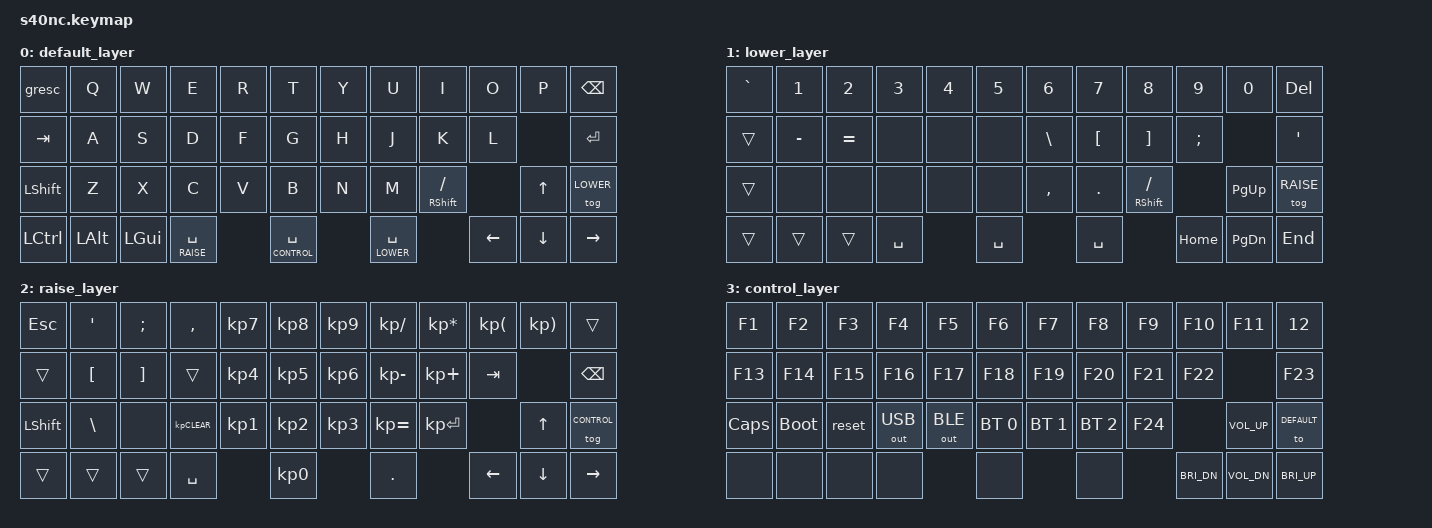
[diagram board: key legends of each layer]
/*
 * Copyright (c) 2021 Nick Winans
 *
 * SPDX-License-Identifier: MIT
 */

#include <behaviors.dtsi>
#include <dt-bindings/zmk/keys.h>
#include <dt-bindings/zmk/bt.h>
#include <dt-bindings/zmk/outputs.h>
#include <dt-bindings/zmk/reset.h>

#define DEFAULT 0
#define LOWER   1
#define RAISE   2
#define CONTROL 3

/ {
	keymap {
		compatible = "zmk,keymap";
		
		default_layer {
			bindings = <
                &gresc     &kp Q     &kp W     &kp E  &kp R     &kp T      &kp Y   &kp U  &kp I     &kp O     &kp P     &kp BSPC
                &kp TAB    &kp A     &kp S     &kp D  &kp F     &kp G      &kp H   &kp J  &kp K     &kp L               &kp RET
                &kp LSHFT  &kp Z     &kp X     &kp C  &kp V     &kp B      &kp N   &kp M  &mt RSHFT FSLH      &kp UP    &tog LOWER
                &kp LCTRL  &kp LALT  &kp LGUI  &lt RAISE SPACE  &lt CONTROL SPACE  &lt LOWER SPACE  &kp LEFT  &kp DOWN  &kp RIGHT
			>;
		};

		lower_layer {
			bindings = <
                &kp GRAVE  &kp N1     &kp N2     &kp N3  &kp N4  &kp N5  &kp N6     &kp N7     &kp N8    &kp N9     &kp N0     &kp DEL
                &trans     &kp MINUS  &kp EQUAL  &none   &none   &none   &kp BSLH   &kp LBKT   &kp RBKT  &kp SEMI              &kp APOS
                &trans     &none      &none      &none   &none   &none   &kp COMMA  &kp DOT    &mt RSHFT FSLH       &kp PG_UP  &tog RAISE
                &trans     &trans     &trans     &kp SPACE       &kp SPACE          &kp SPACE            &kp HOME   &kp PG_DN  &kp END
			>;
		};
        
        	raise_layer {
			bindings = <
                &kp ESC   &kp APOS   &kp SEMI  &kp COMMA     &kp KP_N7  &kp KP_N8  &kp KP_N9  &kp KP_DIVIDE  &kp KP_MULTIPLY  &kp KP_LPAR  &kp KP_RPAR  &trans
                &trans    &kp LBKT   &kp RBKT  &trans        &kp KP_N4  &kp KP_N5  &kp KP_N6  &kp KP_MINUS   &kp KP_PLUS      &kp TAB                   &kp BSPC
                &kp LSHFT &kp BSLH   &none     &kp KP_CLEAR  &kp KP_N1  &kp KP_N2  &kp KP_N3  &kp KP_EQUAL   &kp KP_ENTER                  &kp UP       &tog CONTROL
                &trans    &trans     &trans    &kp SPACE                &kp KP_N0             &kp DOT                         &kp LEFT     &kp DOWN     &kp RIGHT
			>;
		};
        
        	control_layer {
			bindings = <
                &kp F1    &kp F2       &kp F3   &kp F4        &kp F5        &kp F6        &kp F7        &kp F8        &kp F9   &kp F10       &kp F11       &kp 12
                &kp F13   &kp F14      &kp F15  &kp F16       &kp F17       &kp F18       &kp F19       &kp F20       &kp F21  &kp F22                     &kp F23
                &kp CAPS  &bootloader  &reset   &out OUT_USB  &out OUT_BLE  &bt BT_SEL 0  &bt BT_SEL 1  &bt BT_SEL 2  &kp F24                &kp C_VOL_UP  &to DEFAULT
                &none     &none        &none    &none                       &none                       &none                  &kp C_BRI_DN  &kp C_VOL_DN  &kp C_BRI_UP
			>;
		};
	};
};
